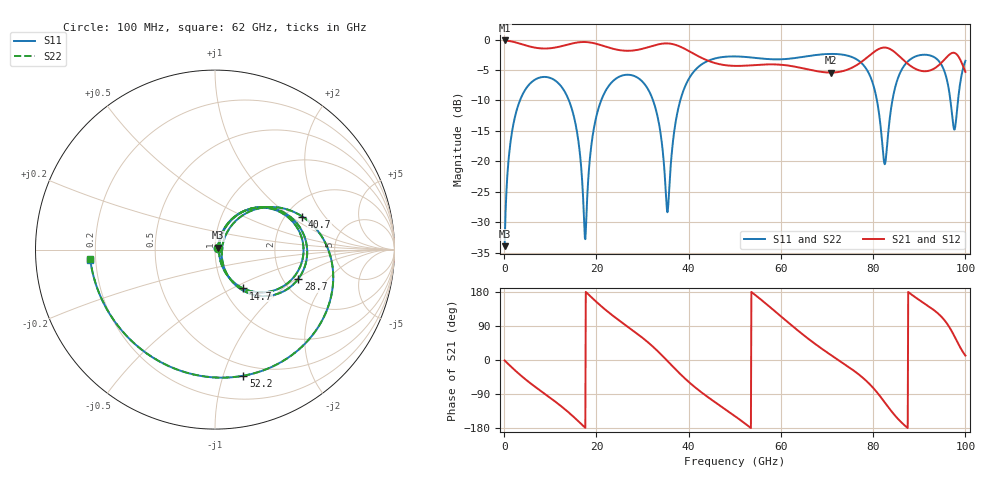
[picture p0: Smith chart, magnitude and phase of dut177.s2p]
! Touchstone file exported from HFSS 2026.1.0
!  File:  C:/ffzhzh/LocalFiles/Ansys_Project_Files/temp_test_TSV_RDL_177_1783475254_48356.aedt
!  Generated:  10:00:20 AM Jul  8, 2026
!  Design:  TSV_RDL
!  Project:  temp_test_TSV_RDL_177_1783475254_48356
! Variables:
!  h_bsmrdl = 4.46um
!  h_ox = 20um
!  h_rdl = 5um
!  h_sub = 79.85um
!  h_tmrdl = 2.99um
!  h_tsv = 79.85um
!  h_via = 3um
!  l_bsmrdl = 550.88um
!  l_sub = 3179.25um
!  l_tmrdl = 254.42um
!  m_sub = 200um
!  pitch = 46.62um
!  r_tsv = 13.77um
!  s_tmrdl = 10um
!  w_bsmrdl = 12.64um
!  w_sub = 500um
!  w_tmrdl = 23.67um
!  x_tsv_center1 = 266.255um
!  x_tsv_center2 = 829.775um
!  x_tsv_center3 = 1107.865um
!  x_tsv_center4 = 1671.385um
!  x_tsv_center5 = 1949.475um
!  x_tsv_center6 = 2512.995um
# GHz S MA R 50.000000
! Terminal data exported
! Port[1] = TM_RDL1_1_T1
! Port[2] = TM_RDL5_1_T1
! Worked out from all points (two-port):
!   1000 points, 100 MHz to 100 GHz, reference 50 ohm
!   highest |S21| = -0.15 dB at 100 MHz (marker M1); lowest = -5.4 dB at 70.8 GHz (marker M2)
!   |S21| within 3 dB of the highest: start of sweep to 43.19 GHz; 78.36 GHz to 86.25 GHz (7.893 GHz wide, 9.59 % of centre) (the widest 2 of 3)
!   lowest |S11| = -34.0 dB at 100 MHz (marker M3), VSWR 1.04, Z = 51.7 + j1.14 ohm
!   |S11| at or under -10 dB: start of sweep to 3.427 GHz; 14.04 GHz to 21.04 GHz (7.001 GHz wide, 39.9 % of centre); 32.28 GHz to 38.19 GHz (5.906 GHz wide, 16.8 % of centre) (the widest 3 of 5)
!   |S22| runs from -34.0 to -2.4 dB; largest |S21 - S12| = 1.7e-14
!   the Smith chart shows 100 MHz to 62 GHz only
!   S11 on the Smith chart (normalised r, x): 100 MHz: 1.03, +0.02; 14.7 GHz: 1.23, -0.57; 28.7 GHz: 2.42, -1.04; 40.7 GHz: 2.45, +1.24; 52.2 GHz: 0.40, -1.17; 62 GHz: 0.18, -0.04
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0.1  0.02005 33.3  0.9834 -1.2  0.9834 -1.2  0.02005 33.3
! Gamma 0 0 0 0
! Port Impedance 50 0 50 0
1.6  0.1646 63.9  0.9655 -18.8  0.9655 -18.8  0.1646 63.9
4.4  0.3776 37.7  0.902 -48.8  0.902 -48.8  0.3777 37.7
14.7  0.2673 -54.0  0.9277 -146.0  0.9277 -146.0  0.2673 -54.1
16.8  0.0798 -65.5  0.9542 -169.8  0.9542 -169.8  0.07971 -65.9
17.7  0.02648 29.3  0.9545 179.7  0.9545 179.7  0.02594 29.9
22.2  0.3908 36.4  0.8704 130.2  0.8704 130.2  0.3907 36.5
28.7  0.4919 -19.3  0.8204 70.8  0.8204 70.8  0.492 -19.2
33.4  0.2199 -60.6  0.9131 22.1  0.9131 22.1  0.22 -60.5
35.4  0.03808 -4.4  0.93 -2.4  0.93 -2.4  0.03856 -4.5
40.7  0.5204 20.7  0.7795 -65.0  0.7795 -65.0  0.5203 20.7
50.1  0.7271 -59.0  0.6076 -148.7  0.6076 -148.7  0.727 -59.0
52.2  0.7204 -77.4  0.6099 -167.4  0.6099 -167.4  0.7203 -77.4
62  0.6974 -175.3  0.6082 94.7  0.6082 94.7  0.6972 -175.5
66.7  0.739 138.6  0.56 49.0  0.56 49.0  0.7388 138.4
70.8  0.762 103.6  0.5358 13.5  0.5358 13.5  0.7619 103.4
78.4  0.5827 41.5  0.6981 -53.8  0.6981 -53.8  0.5825 41.3
83.4  0.1921 114.2  0.8456 -126.3  0.8456 -126.3  0.1912 114.6
89.2  0.727 72.5  0.5738 165.0  0.5738 165.0  0.7268 72.5
96.4  0.3906 19.9  0.7454 89.2  0.7454 89.2  0.3911 20.0
97.7  0.184 65.5  0.7756 60.8  0.7756 60.8  0.1853 65.4
100  0.6685 86.7  0.5422 11.8  0.5422 11.8  0.6686 86.6
